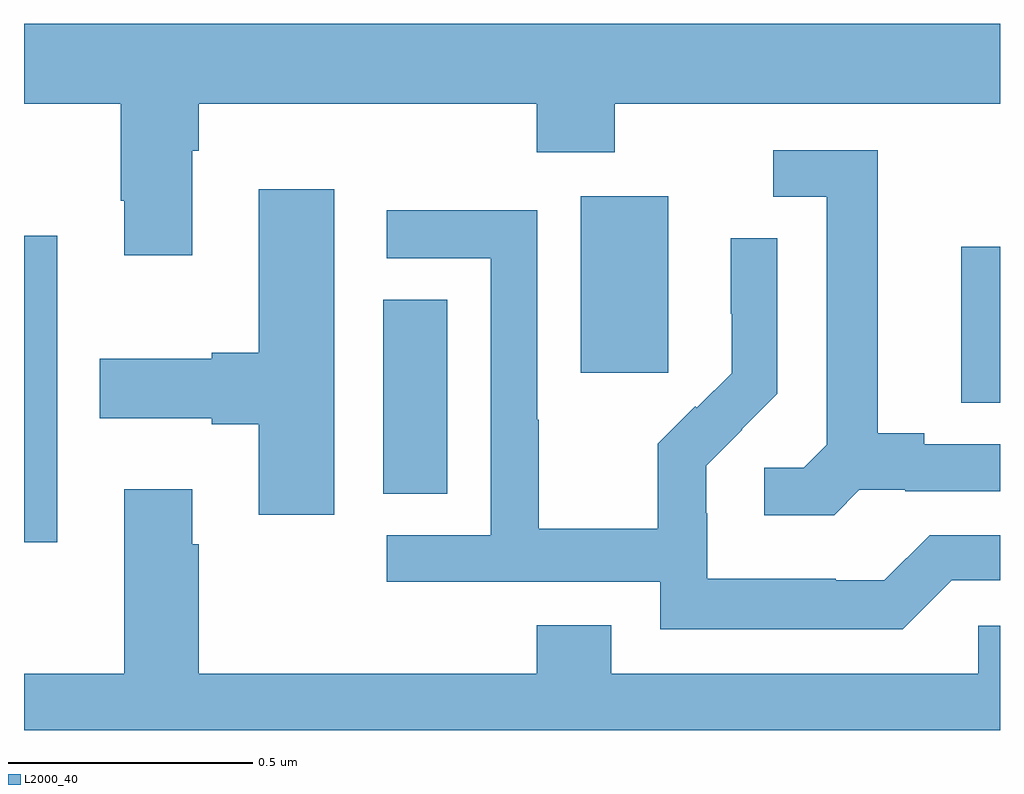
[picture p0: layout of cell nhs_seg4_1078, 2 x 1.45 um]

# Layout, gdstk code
import gdstk
lib = gdstk.Library(unit=1e-6, precision=1e-09)
def R(c, l, rs):  # rectangles x0, y0, x1, y1
    for r in rs: c.add(gdstk.rectangle(r[:2], r[2:], *l))
def P(c, l, *ps):  # polygons
    for p in ps: c.add(gdstk.Polygon(p, *l))
L2000_40 = (2000, 40)

nhs_seg4_1078 = lib.new_cell('nhs_seg4_1078')
R(nhs_seg4_1078, L2000_40, [(124,765.285,124.068,765.913), (124.736,765.385,124.867,765.782), (125.921,765.571,126,765.891), (125.141,765.633,125.32,765.994)])
P(nhs_seg4_1078, L2000_40, [(124.345,766.088),(124.358,766.088),(124.358,766.184),(125.051,766.184),(125.051,766.085),(125.211,766.085),(125.211,766.184),(126,766.184),(126,766.348),(124,766.348),(124,766.184),(124.198,766.184),(124.198,765.985),(124.205,765.985),(124.205,765.873),(124.345,765.873)],
  [(125.712,765.393),(125.806,765.393),(125.806,765.39),(126,765.39),(126,765.486),(125.845,765.486),(125.845,765.509),(125.749,765.509),(125.749,766.089),(125.535,766.089),(125.535,765.993),(125.645,765.993),(125.645,765.485),(125.598,765.438),(125.517,765.438),(125.517,765.341),(125.66,765.341)],
  [(124.636,766.009),(124.481,766.009),(124.481,765.674),(124.385,765.674),(124.385,765.661),(124.155,765.661),(124.155,765.539),(124.385,765.539),(124.385,765.527),(124.481,765.527),(124.481,765.342),(124.636,765.342)],
  [(125.901,765.207),(126,765.207),(126,765.3),(125.856,765.3),(125.763,765.207),(125.663,765.207),(125.663,765.211),(125.4,765.211),(125.4,765.345),(125.398,765.345),(125.398,765.442),(125.472,765.516),(125.471,765.517),(125.544,765.59),(125.544,765.908),(125.448,765.908),(125.448,765.754),(125.45,765.754),(125.45,765.632),(125.379,765.561),(125.376,765.564),(125.299,765.487),(125.299,765.313),(125.055,765.313),(125.055,765.536),(125.052,765.536),(125.052,765.966),(124.743,765.966),(124.743,765.867),(124.956,765.867),(124.956,765.3),(124.743,765.3),(124.743,765.204),(125.304,765.204),(125.304,765.107),(125.801,765.107)],
  [(126,765.114),(125.955,765.114),(125.955,765.016),(125.203,765.016),(125.203,765.115),(125.051,765.115),(125.051,765.016),(124.358,765.016),(124.358,765.281),(124.345,765.281),(124.345,765.394),(124.205,765.394),(124.205,765.016),(124,765.016),(124,764.9),(126,764.9)])

lib.write_gds('nhs_seg4_1078.gds')
